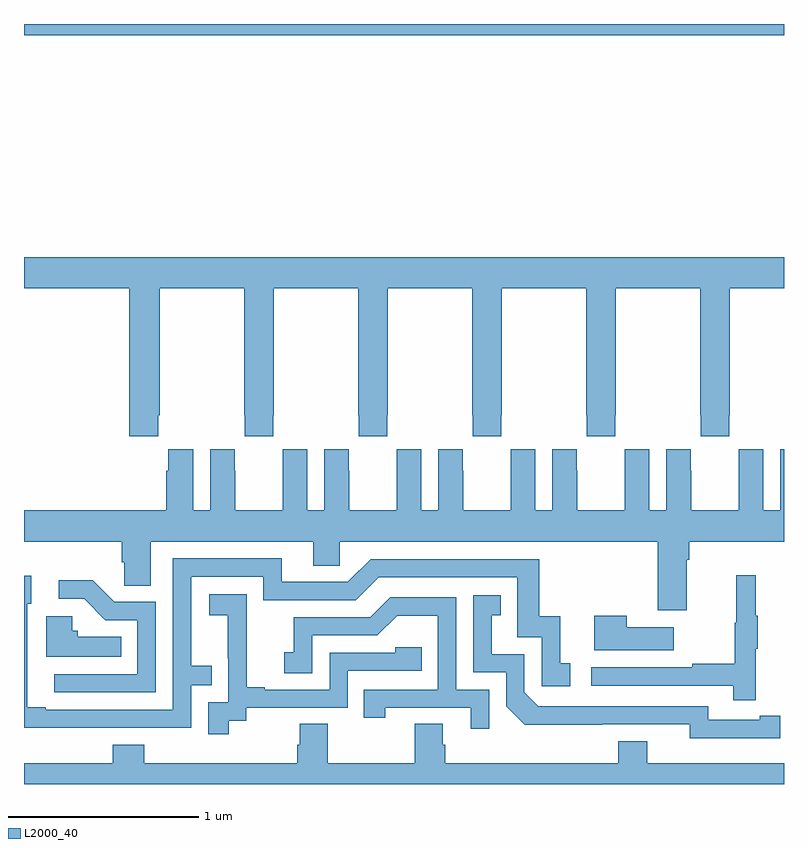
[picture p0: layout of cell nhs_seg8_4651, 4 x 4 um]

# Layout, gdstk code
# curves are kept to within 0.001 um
import gdstk
lib = gdstk.Library(unit=1e-6, precision=1e-09)
def R(c, l, rs):  # rectangles x0, y0, x1, y1
    for r in rs: c.add(gdstk.rectangle(r[:2], r[2:], *l))
def P(c, l, *ps):  # polygons
    for p in ps: c.add(gdstk.Polygon(p, *l))
L2000_40 = (2000, 40)

nhs_seg8_4651 = lib.new_cell('nhs_seg8_4651')
R(nhs_seg8_4651, L2000_40, [(393,1109.84,397,1109.9)])
P(nhs_seg8_4651, L2000_40, [(393.707,1107.841),(393.714,1107.841),(393.714,1108.508),(394.159,1108.508),(394.159,1107.841),(394.161,1107.841),(394.161,1107.729),(394.311,1107.729),(394.311,1107.841),(394.314,1107.841),(394.314,1108.508),(394.759,1108.508),(394.759,1107.841),(394.761,1107.841),(394.761,1107.729),(394.911,1107.729),(394.911,1107.841),(394.914,1107.841),(394.914,1108.508),(395.359,1108.508),(395.359,1107.841),(395.361,1107.841),(395.361,1107.729),(395.511,1107.729),(395.511,1107.841),(395.514,1107.841),(395.514,1108.508),(395.959,1108.508),(395.959,1107.841),(395.961,1107.841),(395.961,1107.729),(396.111,1107.729),(396.111,1107.841),(396.114,1107.841),(396.114,1108.508),(396.559,1108.508),(396.559,1107.841),(396.561,1107.841),(396.561,1107.729),(396.711,1107.729),(396.711,1107.841),(396.714,1107.841),(396.714,1108.508),(397,1108.508),(397,1108.672),(393,1108.672),(393,1108.508),(393.554,1108.508),(393.554,1107.729),(393.707,1107.729)],
  [(396.487,1107.08),(396.5,1107.08),(396.5,1107.176),(397,1107.176),(397,1107.661),(396.98,1107.661),(396.98,1107.34),(396.892,1107.34),(396.892,1107.661),(396.762,1107.661),(396.762,1107.548),(396.761,1107.548),(396.761,1107.34),(396.511,1107.34),(396.511,1107.548),(396.51,1107.548),(396.51,1107.661),(396.38,1107.661),(396.38,1107.34),(396.292,1107.34),(396.292,1107.661),(396.162,1107.661),(396.162,1107.548),(396.161,1107.548),(396.161,1107.34),(395.911,1107.34),(395.911,1107.548),(395.91,1107.548),(395.91,1107.661),(395.78,1107.661),(395.78,1107.34),(395.692,1107.34),(395.692,1107.661),(395.562,1107.661),(395.562,1107.548),(395.561,1107.548),(395.561,1107.34),(395.311,1107.34),(395.311,1107.548),(395.31,1107.548),(395.31,1107.661),(395.18,1107.661),(395.18,1107.34),(395.092,1107.34),(395.092,1107.661),(394.962,1107.661),(394.962,1107.548),(394.961,1107.548),(394.961,1107.34),(394.711,1107.34),(394.711,1107.548),(394.71,1107.548),(394.71,1107.661),(394.58,1107.661),(394.58,1107.34),(394.492,1107.34),(394.492,1107.661),(394.362,1107.661),(394.362,1107.548),(394.361,1107.548),(394.361,1107.34),(394.111,1107.34),(394.111,1107.548),(394.11,1107.548),(394.11,1107.661),(393.98,1107.661),(393.98,1107.34),(393.892,1107.34),(393.892,1107.661),(393.758,1107.661),(393.758,1107.548),(393.749,1107.548),(393.749,1107.34),(393,1107.34),(393,1107.176),(393.515,1107.176),(393.515,1107.067),(393.528,1107.067),(393.528,1106.944),(393.667,1106.944),(393.667,1107.176),(394.523,1107.176),(394.523,1107.049),(394.662,1107.049),(394.662,1107.176),(396.335,1107.176),(396.335,1106.814),(396.487,1106.814)],
  [(393.383,1106.196),(393.879,1106.196),(393.879,1106.421),(393.989,1106.421),(393.989,1106.522),(393.879,1106.522),(393.879,1106.991),(394.26,1106.991),(394.26,1106.868),(394.746,1106.868),(394.866,1106.988),(395.595,1106.988),(395.595,1106.673),(395.724,1106.673),(395.724,1106.415),(395.875,1106.415),(395.875,1106.535),(395.822,1106.535),(395.822,1106.782),(395.711,1106.782),(395.711,1107.084),(394.824,1107.084),(394.704,1106.964),(394.357,1106.964),(394.357,1107.087),(393.783,1107.087),(393.783,1106.292),(393.115,1106.292),(393.115,1106.305),(393.018,1106.305),(393.018,1106.85),(393.037,1106.85),(393.037,1106.995),(393,1106.995),(393,1106.195)],
  [(396.851,1106.611),(396.862,1106.611),(396.862,1106.785),(396.851,1106.785),(396.851,1106.998),(396.748,1106.998),(396.748,1106.748),(396.741,1106.748),(396.741,1106.534),(396.517,1106.534),(396.517,1106.514),(395.985,1106.514),(395.985,1106.418),(396.733,1106.418),(396.733,1106.34),(396.851,1106.34)],
  [(393.693,1106.859),(393.474,1106.859),(393.361,1106.972),(393.183,1106.972),(393.183,1106.874),(393.317,1106.874),(393.428,1106.763),(393.597,1106.763),(393.597,1106.478),(393.159,1106.478),(393.159,1106.382),(393.693,1106.382)],
  [(394.078,1106.233),(394.17,1106.233),(394.17,1106.301),(394.704,1106.301),(394.704,1106.496),(395.093,1106.496),(395.093,1106.619),(394.953,1106.619),(394.953,1106.592),(394.608,1106.592),(394.608,1106.397),(394.267,1106.397),(394.267,1106.41),(394.172,1106.41),(394.172,1106.693),(394.173,1106.693),(394.173,1106.899),(393.975,1106.899),(393.975,1106.789),(394.073,1106.789),(394.073,1106.561),(394.074,1106.561),(394.074,1106.331),(393.969,1106.331),(393.969,1106.163),(394.078,1106.163)],
  [(396.872,1106.142),(396.98,1106.142),(396.98,1106.258),(396.872,1106.258),(396.872,1106.238),(396.6,1106.238),(396.6,1106.31),(395.706,1106.31),(395.634,1106.382),(395.634,1106.583),(395.461,1106.583),(395.461,1106.787),(395.51,1106.787),(395.51,1106.893),(395.364,1106.893),(395.364,1106.487),(395.538,1106.487),(395.538,1106.31),(395.636,1106.213),(396.504,1106.214),(396.504,1106.141)],
  [(395.448,1106.397),(395.274,1106.397),(395.274,1106.883),(394.928,1106.883),(394.823,1106.778),(394.42,1106.778),(394.42,1106.593),(394.371,1106.593),(394.371,1106.484),(394.518,1106.484),(394.518,1106.682),(394.86,1106.682),(394.964,1106.786),(395.178,1106.786),(395.178,1106.397),(394.789,1106.397),(394.789,1106.25),(394.9,1106.25),(394.9,1106.301),(395.351,1106.301),(395.351,1106.19),(395.448,1106.19)],
  [(396.421,1106.725),(396.173,1106.725),(396.173,1106.785),(396.002,1106.785),(396.002,1106.603),(396.421,1106.603)],
  [(393.512,1106.674),(393.282,1106.674),(393.282,1106.706),(393.255,1106.706),(393.255,1106.782),(393.116,1106.782),(393.116,1106.57),(393.512,1106.57)],
  [(397,1106.008),(396.28,1106.008),(396.28,1106.125),(396.128,1106.125),(396.128,1106.008),(395.216,1106.008),(395.216,1106.106),(395.203,1106.106),(395.203,1106.216),(395.056,1106.216),(395.056,1106.008),(394.599,1106.008),(394.599,1106.216),(394.451,1106.216),(394.451,1106.106),(394.439,1106.106),(394.439,1106.008),(393.632,1106.008),(393.632,1106.107),(393.467,1106.107),(393.467,1106.008),(393,1106.008),(393,1105.9),(397,1105.9)])

lib.write_gds('nhs_seg8_4651.gds')
